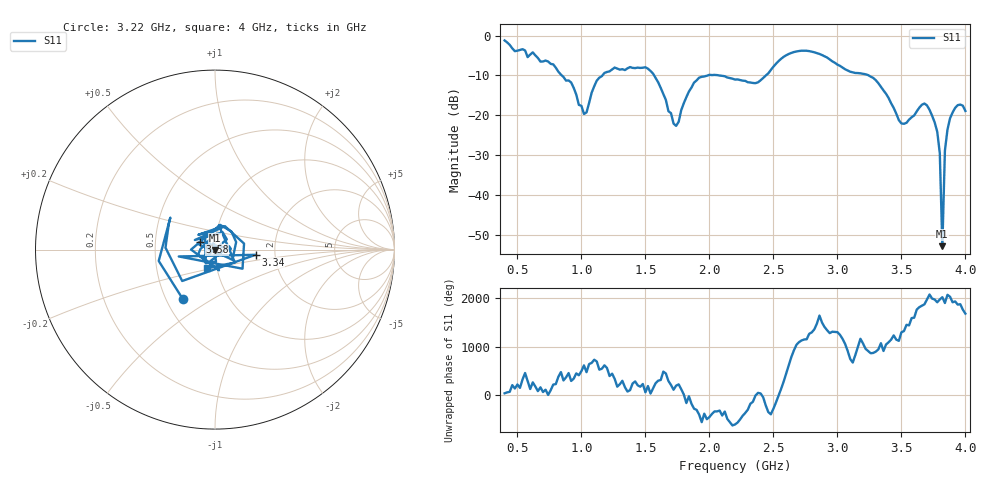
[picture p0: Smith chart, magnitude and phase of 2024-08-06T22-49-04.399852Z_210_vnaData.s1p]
!Created with skrf (http://scikit-rf.org).
# Hz S RI R 50.0
!freq ReS11 ImS11
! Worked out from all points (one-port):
!   181 points, 400 MHz to 4 GHz, reference 50 ohm
!   lowest |S11| = -52.8 dB at 3.82 GHz (marker M1), VSWR 1.00, Z = 49.8 - j0.164 ohm
!   |S11| at or under -10 dB: 1.569 GHz to 1.986 GHz (417.2 MHz wide, 23.5 % of centre); 2.078 GHz to 2.44 GHz (362.5 MHz wide, 16 % of centre); 3.245 GHz to end of sweep (the widest 3 of 4)
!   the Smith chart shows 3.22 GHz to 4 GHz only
!   S11 on the Smith chart (normalised r, x): 3.22 GHz: 0.61, -0.37; 3.34 GHz: 1.58, -0.10; 3.58 GHz: 0.84, +0.07; 4 GHz: 0.89, -0.19
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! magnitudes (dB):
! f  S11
! 400 MHz  -1.2
! 860 MHz  -10.4
! 920 MHz  -11.8
! 1.02 GHz  -19.6
! 1.12 GHz  -11.3
! 1.3 GHz  -8.5
! 1.54 GHz  -8.9
! 1.72 GHz  -22.0
! 1.76 GHz  -21.6
! 1.84 GHz  -14.0
! 1.92 GHz  -10.5
! 2.2 GHz  -11.0
! 2.38 GHz  -11.7
! 2.66 GHz  -4.1
! 3.1 GHz  -9.1
! 3.22 GHz  -9.7
! 3.34 GHz  -12.9
! 3.5 GHz  -22.0
! 3.56 GHz  -21.0
! 3.58 GHz  -20.5
! 3.68 GHz  -17.0
! 3.78 GHz  -24.1
! 3.8 GHz  -29.4
! 3.82 GHz  -52.8
! 3.84 GHz  -28.8
! 3.86 GHz  -23.6
! 3.94 GHz  -17.4
! 4 GHz  -18.9
